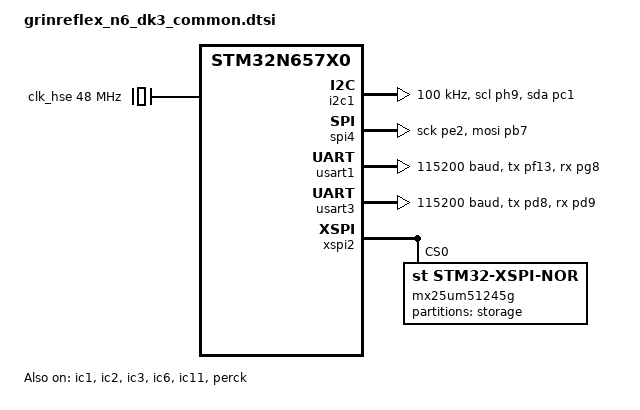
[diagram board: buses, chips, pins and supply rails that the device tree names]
/*
 * Copyright (c) 2025 STMicroelectronics
 *
 * SPDX-License-Identifier: Apache-2.0
 */

#include <st/n6/stm32n657X0.dtsi>
#include <st/n6/stm32n657x0hxq-pinctrl.dtsi>
#include <zephyr/dt-bindings/flash_controller/xspi.h>
#include <zephyr/dt-bindings/input/input-event-codes.h>

/ {
	chosen {
		zephyr,console = &usart1;
		zephyr,shell-uart = &usart1;
		zephyr,sram = &axisram2;
		spi-flash0 = &mx25um51245g;
	};

	aliases {
	};
};

&clk_hse {
	hse-div2;
	clock-frequency = <DT_FREQ_M(48)>;
	status = "okay";
};

&clk_hsi {
	hsi-div = <1>;
	status = "okay";
};

&pll1 {
	clocks = <&clk_hse>;
	div-m = <3>;
	mul-n = <150>;
	div-p1 = <1>;
	div-p2 = <1>;
	status = "okay";
};

&pll3 {
	clocks = <&clk_hse>;
	div-m = <3>;
	mul-n = <125>;
	div-p1 = <1>;
	div-p2 = <1>;
	status = "okay";
};

&ic1 {
	pll-src = <1>;
	ic-div = <3>;
	status = "okay";
};

&ic2 {
	pll-src = <1>;
	ic-div = <6>;
	status = "okay";
};

&ic3 {
	pll-src = <1>;
	ic-div = <6>;
	status = "okay";
};

&ic6 {
	pll-src = <3>;
	ic-div = <2>;
	status = "okay";
};

&ic11 {
	pll-src = <1>;
	ic-div = <3>;
	status = "okay";
};

&perck {
	clocks = <&rcc STM32_SRC_HSI PER_SEL(0)>;
	status = "okay";
};

&cpusw {
	clocks = <&rcc STM32_SRC_IC1 CPU_SEL(3)>;
	clock-frequency = <DT_FREQ_M(800)>;
	status = "okay";
};

&rcc {
	/* ic2, ic6 & ic11 must all be enabled to set ic2 as SYSCLK */
	clocks = <&ic2>;
	clock-frequency = <DT_FREQ_M(400)>;
	ahb-prescaler = <2>;
	timg-prescaler = <2>;
};

&i2c1 {
	clocks = <&rcc STM32_CLOCK(APB1, 21)>,
		 <&rcc STM32_SRC_CKPER I2C1_SEL(1)>;
	pinctrl-0 = <&i2c1_scl_ph9 &i2c1_sda_pc1>;
	pinctrl-names = "default";
	clock-frequency = <I2C_BITRATE_STANDARD>;
	status = "okay";
};

&spi4 {
	clocks = <&rcc STM32_CLOCK(APB2, 20)>,
		 <&rcc STM32_SRC_CKPER SPI5_SEL(1)>;
	pinctrl-0 = <&spi4_sck_pe2 &spi4_mosi_pb7>;
	pinctrl-names = "default";
	status = "okay";
};

&usart1 {
	clocks = <&rcc STM32_CLOCK(APB2, 4)>,
		 <&rcc STM32_SRC_CKPER USART1_SEL(1)>;
	pinctrl-0 = <&usart1_tx_pf13 &usart1_rx_pg8>;
	pinctrl-names = "default";
	current-speed = <115200>;
	status = "okay";
};

&usart3 {
	clocks = <&rcc STM32_CLOCK(APB1, 18)>,
		 <&rcc STM32_SRC_CKPER USART3_SEL(1)>;
	pinctrl-0 = <&usart3_tx_pd8 &usart3_rx_pd9>;
	pinctrl-names = "default";
	current-speed = <115200>;
	status = "okay";
};

&xspi2 {
	pinctrl-0 = <&xspim_p2_ncs1_pn1 &xspim_p2_dqs0_pn0 &xspim_p2_clk_pn6
		     &xspim_p2_io0_pn2 &xspim_p2_io1_pn3 &xspim_p2_io2_pn4
		     &xspim_p2_io3_pn5 &xspim_p2_io4_pn8 &xspim_p2_io5_pn9
		     &xspim_p2_io6_pn10 &xspim_p2_io7_pn11>;
	pinctrl-names = "default";
	clocks = <&rcc STM32_CLOCK(AHB5, 12)>,
		 <&rcc STM32_SRC_IC3 XSPI1_SEL(2)>,
		 <&rcc STM32_CLOCK(AHB5, 13)>;
	status = "okay";

	mx25um51245g: ospi-nor-flash@0 {
		compatible = "st,stm32-xspi-nor";
		reg = <0>;
		size = <DT_SIZE_M(512)>; /* 512 Mbits */
		ospi-max-frequency = <DT_FREQ_M(200)>;
		spi-bus-width = <XSPI_OCTO_MODE>;
		data-rate = <XSPI_DTR_TRANSFER>;
		four-byte-opcodes;
		status = "okay";

		partitions {
			compatible = "fixed-partitions";
			#address-cells = <1>;
			#size-cells = <1>;

			storage_partition: partition@3ff0000 {
				label = "storage";
				reg = <0x3ff0000 DT_SIZE_K(64)>;
			};
		};
	};
};
